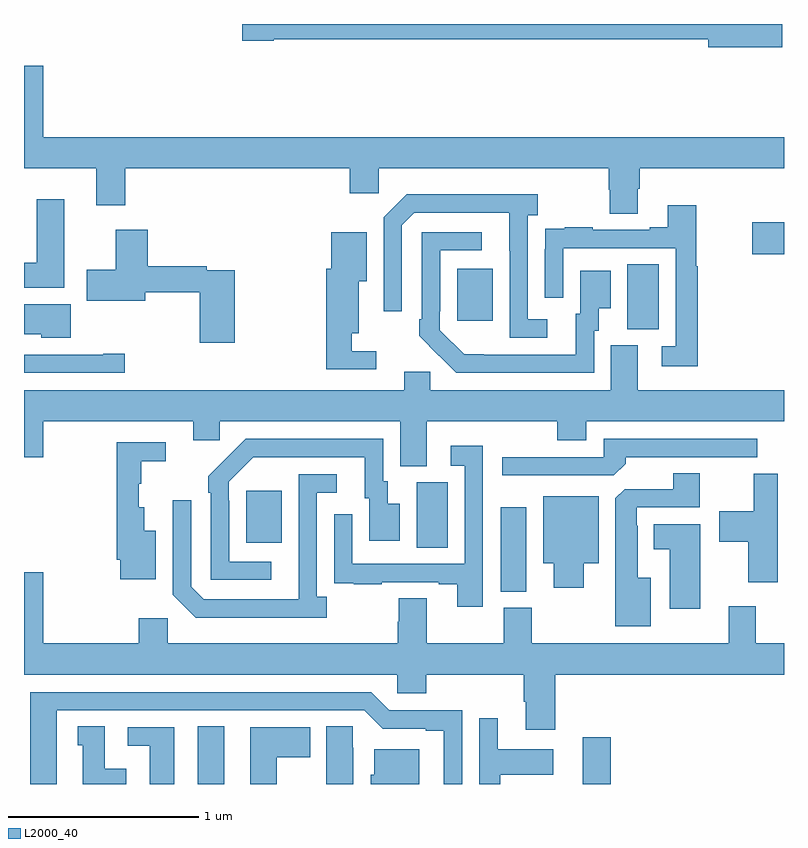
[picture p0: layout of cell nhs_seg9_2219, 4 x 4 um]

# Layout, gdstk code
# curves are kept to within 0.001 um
import gdstk
lib = gdstk.Library(unit=1e-6, precision=1e-09)
def R(c, l, rs):  # rectangles x0, y0, x1, y1
    for r in rs: c.add(gdstk.rectangle(r[:2], r[2:], *l))
def P(c, l, *ps):  # polygons
    for p in ps: c.add(gdstk.Polygon(p, *l))
L2000_40 = (2000, 40)

nhs_seg9_2219 = lib.new_cell('nhs_seg9_2219')
R(nhs_seg9_2219, L2000_40, [(237.914,1206.5,238.054,1206.803), (239.942,1206.5,240.089,1206.745), (239.51,1207.513,239.644,1207.957), (239.066,1207.744,239.23,1208.088), (238.169,1207.769,238.357,1208.044), (240.176,1208.893,240.34,1209.236), (239.279,1208.937,239.467,1209.211), (240.834,1209.287,241,1209.457)])
P(nhs_seg9_2219, L2000_40, [(240.991,1210.5),(238.148,1210.5),(238.148,1210.412),(238.314,1210.412),(238.314,1210.42),(240.602,1210.42),(240.602,1210.378),(240.991,1210.378)],
  [(240.229,1209.634),(240.242,1209.634),(240.242,1209.74),(241,1209.74),(241,1209.904),(237.1,1209.904),(237.1,1210.279),(237,1210.279),(237,1209.74),(237.38,1209.74),(237.38,1209.546),(237.533,1209.546),(237.533,1209.74),(238.715,1209.74),(238.715,1209.609),(238.866,1209.609),(238.866,1209.74),(240.077,1209.74),(240.077,1209.627),(240.082,1209.627),(240.082,1209.502),(240.229,1209.502)],
  [(239.755,1208.946),(239.652,1208.946),(239.652,1209.494),(239.704,1209.494),(239.704,1209.604),(239.014,1209.604),(238.893,1209.483),(238.893,1208.988),(238.989,1208.988),(238.989,1209.441),(239.055,1209.507),(239.555,1209.507),(239.556,1208.85),(239.755,1208.85)],
  [(237.211,1209.577),(237.068,1209.577),(237.068,1209.244),(237,1209.244),(237,1209.113),(237.211,1209.113)],
  [(240.545,1209.224),(240.538,1209.224),(240.538,1209.547),(240.389,1209.547),(240.389,1209.43),(240.293,1209.43),(240.293,1209.417),(239.993,1209.417),(239.993,1209.43),(239.845,1209.43),(239.845,1209.423),(239.743,1209.423),(239.743,1209.314),(239.742,1209.314),(239.742,1209.06),(239.838,1209.06),(239.838,1209.321),(240.429,1209.321),(240.429,1208.805),(240.357,1208.805),(240.357,1208.7),(240.545,1208.7)],
  [(238.109,1209.204),(237.962,1209.204),(237.962,1209.224),(237.65,1209.224),(237.65,1209.418),(237.482,1209.418),(237.482,1209.207),(237.33,1209.207),(237.33,1209.044),(237.637,1209.044),(237.637,1209.088),(237.926,1209.088),(237.926,1208.823),(238.109,1208.823)],
  [(240,1208.886),(240.025,1208.886),(240.025,1209.005),(240.088,1209.005),(240.088,1209.202),(239.927,1209.202),(239.927,1208.976),(239.903,1208.976),(239.903,1208.76),(239.316,1208.761),(239.187,1208.889),(239.187,1208.989),(239.19,1208.989),(239.19,1209.309),(239.41,1209.309),(239.41,1209.405),(239.094,1209.405),(239.094,1208.947),(239.079,1208.947),(239.079,1208.859),(239.276,1208.664),(240,1208.664)],
  [(238.855,1208.778),(238.726,1208.778),(238.726,1208.873),(238.762,1208.873),(238.762,1209.146),(238.804,1209.146),(238.804,1209.403),(238.616,1209.403),(238.616,1209.213),(238.592,1209.213),(238.592,1208.682),(238.855,1208.682)],
  [(237.247,1209.025),(237,1209.025),(237,1208.867),(237.09,1208.867),(237.09,1208.849),(237.247,1208.849)],
  [(239.119,1208.408),(239.807,1208.408),(239.807,1208.309),(239.959,1208.309),(239.959,1208.408),(241,1208.408),(241,1208.572),(240.229,1208.572),(240.229,1208.808),(240.089,1208.808),(240.089,1208.572),(239.139,1208.572),(239.139,1208.67),(239,1208.67),(239,1208.572),(237,1208.572),(237,1208.22),(237.1,1208.22),(237.1,1208.408),(237.89,1208.408),(237.89,1208.31),(238.029,1208.31),(238.029,1208.408),(238.979,1208.408),(238.979,1208.173),(239.119,1208.173)],
  [(237.529,1208.765),(237.416,1208.765),(237.416,1208.76),(237,1208.76),(237,1208.664),(237.529,1208.664)],
  [(238.3,1207.671),(238.08,1207.671),(238.08,1207.991),(238.077,1207.991),(238.077,1208.091),(238.206,1208.22),(238.793,1208.22),(238.793,1208.004),(238.817,1208.004),(238.817,1207.779),(238.978,1207.779),(238.978,1207.975),(238.915,1207.975),(238.915,1208.094),(238.89,1208.094),(238.89,1208.316),(238.166,1208.316),(237.969,1208.121),(237.969,1208.033),(237.984,1208.033),(237.984,1207.575),(238.3,1207.575)],
  [(240.167,1208.186),(240.167,1208.22),(240.859,1208.22),(240.859,1208.316),(240.051,1208.316),(240.051,1208.22),(239.517,1208.22),(239.517,1208.124),(240.105,1208.124)],
  [(237.694,1207.834),(237.634,1207.834),(237.634,1207.957),(237.605,1207.957),(237.605,1208.079),(237.616,1208.079),(237.616,1208.2),(237.745,1208.2),(237.745,1208.298),(237.487,1208.298),(237.487,1207.681),(237.506,1207.681),(237.506,1207.577),(237.694,1207.577)],
  [(239.415,1208.281),(239.247,1208.281),(239.247,1208.175),(239.319,1208.175),(239.319,1207.659),(238.728,1207.659),(238.728,1207.921),(238.632,1207.921),(238.632,1207.666),(238.633,1207.666),(238.633,1207.557),(238.735,1207.557),(238.735,1207.551),(238.883,1207.551),(238.883,1207.563),(239.183,1207.563),(239.183,1207.551),(239.279,1207.551),(239.279,1207.434),(239.415,1207.434)],
  [(240.298,1207.585),(240.229,1207.585),(240.229,1207.859),(240.225,1207.859),(240.225,1207.956),(240.556,1207.956),(240.556,1208.135),(240.416,1208.135),(240.416,1208.052),(240.162,1208.052),(240.113,1208.003),(240.113,1207.331),(240.298,1207.331)],
  [(240.967,1208.134),(240.842,1208.134),(240.842,1207.936),(240.66,1207.936),(240.66,1207.774),(240.812,1207.774),(240.812,1207.563),(240.967,1207.563)],
  [(238.594,1207.486),(238.542,1207.486),(238.542,1208.034),(238.645,1208.034),(238.645,1208.13),(238.446,1208.13),(238.445,1207.473),(237.945,1207.473),(237.879,1207.539),(237.879,1207.993),(237.783,1207.993),(237.783,1207.497),(237.904,1207.376),(238.594,1207.376)],
  [(239.947,1207.661),(240.025,1207.661),(240.025,1208.014),(239.732,1208.014),(239.732,1207.661),(239.789,1207.661),(239.789,1207.533),(239.947,1207.533)],
  [(240.559,1207.867),(240.314,1207.867),(240.314,1207.736),(240.398,1207.736),(240.398,1207.422),(240.559,1207.422)],
  [(239.795,1207.076),(241,1207.076),(241,1207.24),(240.85,1207.24),(240.85,1207.435),(240.71,1207.435),(240.71,1207.24),(239.673,1207.24),(239.673,1207.428),(239.525,1207.428),(239.525,1207.24),(239.119,1207.24),(239.119,1207.478),(238.972,1207.478),(238.972,1207.353),(238.967,1207.353),(238.967,1207.24),(237.756,1207.24),(237.756,1207.372),(237.605,1207.372),(237.605,1207.24),(237.1,1207.24),(237.1,1207.615),(237,1207.615),(237,1207.076),(238.965,1207.076),(238.965,1206.978),(239.117,1206.978),(239.117,1207.076),(239.63,1207.076),(239.63,1206.934),(239.642,1206.934),(239.642,1206.786),(239.795,1206.786)],
  [(237.172,1206.888),(238.791,1206.888),(238.887,1206.792),(239.114,1206.792),(239.114,1206.78),(239.21,1206.78),(239.21,1206.5),(239.307,1206.5),(239.307,1206.888),(238.923,1206.888),(238.827,1206.984),(237.032,1206.984),(237.032,1206.5),(237.172,1206.5)],
  [(239.506,1206.548),(239.785,1206.548),(239.785,1206.682),(239.494,1206.682),(239.494,1206.847),(239.397,1206.847),(239.397,1206.5),(239.506,1206.5)],
  [(237.538,1206.58),(237.424,1206.58),(237.424,1206.803),(237.284,1206.803),(237.284,1206.705),(237.308,1206.705),(237.308,1206.5),(237.538,1206.5)],
  [(238.732,1206.692),(238.731,1206.692),(238.731,1206.803),(238.592,1206.803),(238.592,1206.5),(238.732,1206.5)],
  [(238.33,1206.64),(238.507,1206.64),(238.507,1206.799),(238.19,1206.799),(238.19,1206.5),(238.33,1206.5)],
  [(237.79,1206.798),(237.546,1206.798),(237.546,1206.702),(237.662,1206.702),(237.662,1206.5),(237.79,1206.5)],
  [(239.08,1206.682),(238.844,1206.682),(238.844,1206.549),(238.826,1206.549),(238.826,1206.5),(239.08,1206.5)])

lib.write_gds('nhs_seg9_2219.gds')
